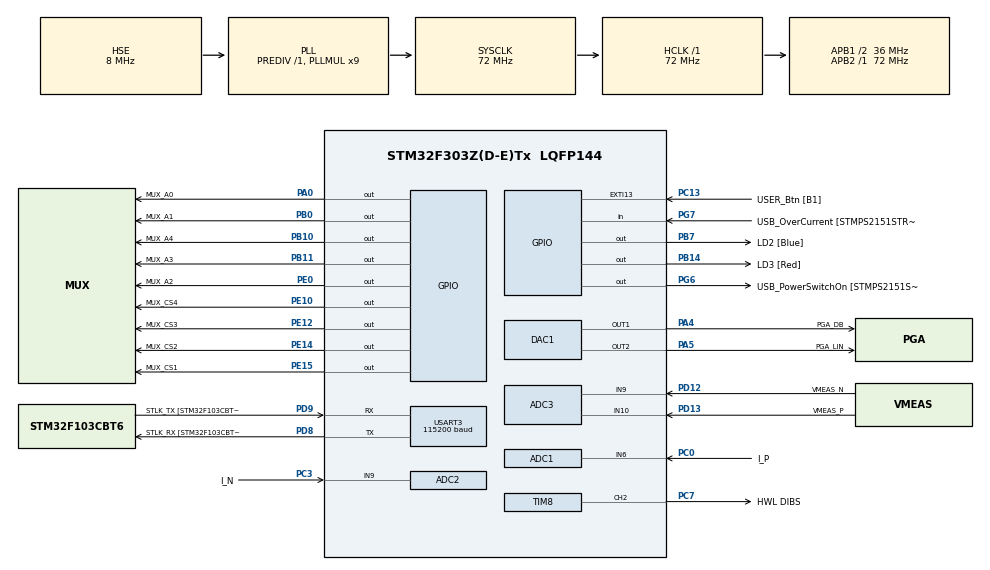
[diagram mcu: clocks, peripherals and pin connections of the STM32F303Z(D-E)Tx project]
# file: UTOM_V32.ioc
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ADC1.Channel-0\#ChannelRegularConversion=ADC_CHANNEL_6
ADC1.EnableInjectedConversion=DISABLE
ADC1.ExternalTrigConv=ADC_EXTERNALTRIGCONV_T3_TRGO
ADC1.NbrOfConversionFlag=1
ADC1.Offset-0\#ChannelRegularConversion=0
ADC1.OffsetNumber-0\#ChannelRegularConversion=ADC_OFFSET_NONE
ADC1.Rank-0\#ChannelRegularConversion=1
ADC1.SamplingTime-0\#ChannelRegularConversion=ADC_SAMPLETIME_19CYCLES_5
ADC1.SamplingTimeOPAMP-0\#ChannelRegularConversion=ADC_SAMPLETIME_61CYCLES_5
ADC1.master=1
ADC2.Channel-0\#ChannelRegularConversion=ADC_CHANNEL_9
ADC2.EnableInjectedConversion=DISABLE
ADC2.ExternalTrigConv=ADC_EXTERNALTRIGCONV_T3_TRGO
ADC2.NbrOfConversionFlag=1
ADC2.Offset-0\#ChannelRegularConversion=0
ADC2.OffsetNumber-0\#ChannelRegularConversion=ADC_OFFSET_NONE
ADC2.Rank-0\#ChannelRegularConversion=1
ADC2.SamplingTime-0\#ChannelRegularConversion=ADC_SAMPLETIME_19CYCLES_5
ADC3.Channel-2\#ChannelRegularConversion=ADC_CHANNEL_9
ADC3.EnableInjectedConversion=DISABLE
ADC3.ExternalTrigConv=ADC_EXTERNALTRIGCONV_T3_TRGO
ADC3.NbrOfConversion=1
ADC3.NbrOfConversionFlag=1
ADC3.Offset-2\#ChannelRegularConversion=0
ADC3.OffsetNumber-2\#ChannelRegularConversion=ADC_OFFSET_NONE
ADC3.Rank-2\#ChannelRegularConversion=1
ADC3.SamplingTime-2\#ChannelRegularConversion=ADC_SAMPLETIME_19CYCLES_5
ADC3.SamplingTimeOPAMP-2\#ChannelRegularConversion=ADC_SAMPLETIME_61CYCLES_5
ADC3.SingleDiff-2\#ChannelRegularConversion=ADC_DIFFERENTIAL_ENDED
ADC3.master=1
DAC1.DAC_Trigger=DAC_TRIGGER_SOFTWARE
DAC1.DAC_Trigger2=DAC_TRIGGER_SOFTWARE
Dma.ADC1.3.Direction=DMA_PERIPH_TO_MEMORY
Dma.ADC1.3.Instance=DMA1_Channel1
Dma.ADC1.3.MemDataAlignment=DMA_MDATAALIGN_HALFWORD
Dma.ADC1.3.MemInc=DMA_MINC_ENABLE
Dma.ADC1.3.Mode=DMA_NORMAL
Dma.ADC1.3.PeriphDataAlignment=DMA_PDATAALIGN_HALFWORD
Dma.ADC1.3.PeriphInc=DMA_PINC_DISABLE
Dma.ADC1.3.Priority=DMA_PRIORITY_HIGH
Dma.ADC2.4.Direction=DMA_PERIPH_TO_MEMORY
Dma.ADC2.4.Instance=DMA2_Channel1
Dma.ADC2.4.MemDataAlignment=DMA_MDATAALIGN_HALFWORD
Dma.ADC2.4.MemInc=DMA_MINC_ENABLE
Dma.ADC2.4.Mode=DMA_NORMAL
Dma.ADC2.4.PeriphDataAlignment=DMA_PDATAALIGN_HALFWORD
Dma.ADC2.4.PeriphInc=DMA_PINC_DISABLE
Dma.ADC2.4.Priority=DMA_PRIORITY_HIGH
Dma.ADC3.2.Direction=DMA_PERIPH_TO_MEMORY
Dma.ADC3.2.Instance=DMA2_Channel5
Dma.ADC3.2.MemDataAlignment=DMA_MDATAALIGN_HALFWORD
Dma.ADC3.2.MemInc=DMA_MINC_ENABLE
Dma.ADC3.2.Mode=DMA_NORMAL
Dma.ADC3.2.PeriphDataAlignment=DMA_PDATAALIGN_HALFWORD
Dma.ADC3.2.PeriphInc=DMA_PINC_DISABLE
Dma.ADC3.2.Priority=DMA_PRIORITY_VERY_HIGH
Dma.Request0=USART3_TX
Dma.Request1=USART3_RX
Dma.Request2=ADC3
Dma.Request3=ADC1
Dma.Request4=ADC2
Dma.USART3_RX.1.Direction=DMA_PERIPH_TO_MEMORY
Dma.USART3_RX.1.Instance=DMA1_Channel3
Dma.USART3_RX.1.MemDataAlignment=DMA_MDATAALIGN_BYTE
Dma.USART3_RX.1.MemInc=DMA_MINC_ENABLE
Dma.USART3_RX.1.Mode=DMA_NORMAL
Dma.USART3_RX.1.PeriphDataAlignment=DMA_PDATAALIGN_BYTE
Dma.USART3_RX.1.PeriphInc=DMA_PINC_DISABLE
Dma.USART3_RX.1.Priority=DMA_PRIORITY_LOW
Dma.USART3_TX.0.Direction=DMA_MEMORY_TO_PERIPH
Dma.USART3_TX.0.Instance=DMA1_Channel2
Dma.USART3_TX.0.MemDataAlignment=DMA_MDATAALIGN_BYTE
Dma.USART3_TX.0.MemInc=DMA_MINC_ENABLE
Dma.USART3_TX.0.Mode=DMA_NORMAL
Dma.USART3_TX.0.PeriphDataAlignment=DMA_PDATAALIGN_BYTE
Dma.USART3_TX.0.PeriphInc=DMA_PINC_DISABLE
Dma.USART3_TX.0.Priority=DMA_PRIORITY_LOW
Mcu.Family=STM32F3
Mcu.Name=STM32F303Z(D-E)Tx
Mcu.Package=LQFP144
NVIC.DMA1_Channel1_IRQn=true\:0\:0\:false\:false\:true\:false\:true\:true
NVIC.DMA1_Channel2_IRQn=true\:0\:0\:false\:false\:true\:false\:true\:true
NVIC.DMA1_Channel3_IRQn=true\:0\:0\:false\:false\:true\:false\:true\:true
NVIC.DMA2_Channel1_IRQn=true\:0\:0\:false\:false\:true\:false\:true\:true
NVIC.DMA2_Channel5_IRQn=true\:0\:0\:false\:false\:true\:false\:true\:true
NVIC.PriorityGroup=NVIC_PRIORITYGROUP_4
NVIC.USART3_IRQn=true\:0\:0\:false\:false\:true\:true\:true\:true
PA0.GPIO_Label=MUX_A0
PA0.PinState=GPIO_PIN_RESET
PA0.Signal=GPIO_Output
PA13.GPIO_Label=TMS
PA13.Mode=Serial_Wire
PA13.Signal=SYS_JTMS-SWDIO
PA14.GPIO_Label=TCK
PA14.Mode=Serial_Wire
PA14.Signal=SYS_JTCK-SWCLK
PA4.GPIO_Label=PGA_DB
PA4.Signal=COMP_DAC11_group
PA5.GPIO_Label=PGA_LIN
PA5.Signal=COMP_DAC12_group
PB0.GPIO_Label=MUX_A1
PB0.PinState=GPIO_PIN_RESET
PB0.Signal=GPIO_Output
PB10.GPIO_Label=MUX_A4
PB10.PinState=GPIO_PIN_RESET
PB10.Signal=GPIO_Output
PB11.GPIO_Label=MUX_A3
PB11.PinState=GPIO_PIN_RESET
PB11.Signal=GPIO_Output
PB14.GPIO_Label=LD3 [Red]
PB14.Signal=GPIO_Output
PB3.GPIO_Label=SWO
PB3.Signal=SYS_JTDO-TRACESWO
PB7.GPIO_Label=LD2 [Blue]
PB7.Signal=GPIO_Output
PC0.GPIO_Label=I_P
PC0.Signal=ADCx_IN6
PC13.GPIO_Label=USER_Btn [B1]
PC13.Signal=GPXTI13
PC14-OSC32_IN.Mode=LSE-External-Oscillator
PC14-OSC32_IN.Signal=RCC_OSC32_IN
PC15-OSC32_OUT.Mode=LSE-External-Oscillator
PC15-OSC32_OUT.Signal=RCC_OSC32_OUT
PC3.GPIO_Label=I_N
PC3.Signal=ADCx_IN9
PC7.GPIO_Label=HWL DIBS
PC7.Signal=S_TIM8_CH2
PD12.GPIO_Label=VMEAS_N
PD12.Signal=ADCx_IN9P
PD13.GPIO_Label=VMEAS_P
PD13.Signal=ADCx_IN10P
PD8.GPIO_Label=STLK_RX [STM32F103CBT6_PA3]
PD8.Mode=Asynchronous
PD8.Signal=USART3_TX
PD9.GPIO_Label=STLK_TX [STM32F103CBT6_PA2]
PD9.Mode=Asynchronous
PD9.Signal=USART3_RX
PE0.GPIO_Label=MUX_A2
PE0.PinState=GPIO_PIN_RESET
PE0.Signal=GPIO_Output
PE10.GPIO_Label=MUX_CS4
PE10.PinState=GPIO_PIN_SET
PE10.Signal=GPIO_Output
PE12.GPIO_Label=MUX_CS3
PE12.PinState=GPIO_PIN_SET
PE12.Signal=GPIO_Output
PE14.GPIO_Label=MUX_CS2
PE14.PinState=GPIO_PIN_SET
PE14.Signal=GPIO_Output
PE15.GPIO_Label=MUX_CS1
PE15.PinState=GPIO_PIN_SET
PE15.Signal=GPIO_Output
PF0-OSC_IN.Mode=HSE-External-Clock-Source
PF0-OSC_IN.Signal=RCC_OSC_IN
PG6.GPIO_Label=USB_PowerSwitchOn [STMPS2151STR_EN]
PG6.Signal=GPIO_Output
PG7.GPIO_Label=USB_OverCurrent [STMPS2151STR_FAULT]
PG7.Signal=GPIO_Input
ProjectManager.HeapSize=0x200
ProjectManager.StackSize=0x400
ProjectManager.TargetToolchain=STM32CubeIDE
RCC.AHBFreq_Value=72000000
RCC.APB1CLKDivider=RCC_HCLK_DIV2
RCC.APB1Freq_Value=36000000
RCC.APB1TimFreq_Value=72000000
RCC.APB2Freq_Value=72000000
RCC.APB2TimFreq_Value=72000000
RCC.CortexFreq_Value=72000000
RCC.HCLKFreq_Value=72000000
RCC.HSE_VALUE=8000000
RCC.HSI_VALUE=8000000
RCC.PLLMUL=RCC_PLL_MUL9
RCC.PLLSourceVirtual=RCC_PLLSOURCE_HSE
RCC.RTCClockSelection=RCC_RTCCLKSOURCE_LSE
RCC.SYSCLKFreq_VALUE=72000000
RCC.SYSCLKSourceVirtual=RCC_SYSCLKSOURCE_PLLCLK
RCC.USBFreq_Value=72000000
RCC.Usart3ClockSelection=RCC_USART3CLKSOURCE_SYSCLK
SH.ADCx_IN10P.0=ADC3_IN10,IN9-Differential
SH.ADCx_IN6.0=ADC1_IN6,IN6-Single-Ended
SH.ADCx_IN9.0=ADC2_IN9,IN9-Single-Ended
SH.ADCx_IN9P.0=ADC3_IN9,IN9-Differential
SH.COMP_DAC11_group.0=DAC1_OUT1,DAC_OUT1
SH.COMP_DAC12_group.0=DAC1_OUT2,Enable_DAC_OUT2
SH.S_TIM8_CH2.0=TIM8_CH2,PWM Generation2 CH2
TIM3.Period=35
TIM3.TIM_MasterOutputTrigger=TIM_TRGO_UPDATE
TIM3.TIM_MasterSlaveMode=TIM_MASTERSLAVEMODE_ENABLE
TIM4.Prescaler=71
TIM8.Channel-PWM\ Generation2\ CH2=TIM_CHANNEL_2
TIM8.OCFastMode_PWM-PWM\ Generation2\ CH2=TIM_OCFAST_ENABLE
TIM8.Period=71
TIM8.Prescaler=99
TIM8.Pulse-PWM\ Generation2\ CH2=35
USART3.BaudRate=115200
USART3.Parity=PARITY_ODD
USART3.VirtualMode-Asynchronous=VM_ASYNC
USART3.WordLength=WORDLENGTH_9B
VP_RTC_VS_RTC_Activate.Mode=RTC_Enabled
VP_TIM3_VS_ClockSourceINT.Mode=Internal
VP_TIM4_VS_ClockSourceINT.Mode=Internal
board=NUCLEO-F303ZE

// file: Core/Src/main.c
/* USER CODE BEGIN Header */
/**
  ******************************************************************************
  * @file           : main.c
  * @brief          : Main program body
  ******************************************************************************
  * @attention
  *
  * <h2><center>&copy; Copyright (c) 2021 STMicroelectronics.
  * All rights reserved.</center></h2>
  *
  * This software component is licensed by ST under BSD 3-Clause license,
  * the "License"; You may not use this file except in compliance with the
  * License. You may obtain a copy of the License at:
  *                        opensource.org/licenses/BSD-3-Clause
  *
  ******************************************************************************
  */
/* USER CODE END Header */
#include "main.h"

/* USER CODE BEGIN Includes */

#include <stdio.h>
#include <stdlib.h>
#include "arm_const_structs.h"
#include "arm_math.h"
#include "state_machine.h"
#include "ring_buffer.h"

/* USER CODE END Includes */

ADC_HandleTypeDef hadc1;
ADC_HandleTypeDef hadc2;
ADC_HandleTypeDef hadc3;
DMA_HandleTypeDef hdma_adc1;
DMA_HandleTypeDef hdma_adc2;
DMA_HandleTypeDef hdma_adc3;

DAC_HandleTypeDef hdac1;

RTC_HandleTypeDef hrtc;

TIM_HandleTypeDef htim3;
TIM_HandleTypeDef htim4;
TIM_HandleTypeDef htim8;

UART_HandleTypeDef huart3;
DMA_HandleTypeDef hdma_usart3_tx;
DMA_HandleTypeDef hdma_usart3_rx;

void SystemClock_Config(void);
static void MX_GPIO_Init(void);
static void MX_DMA_Init(void);
static void MX_RTC_Init(void);
static void MX_USART3_UART_Init(void);
static void MX_DAC1_Init(void);
static void MX_TIM8_Init(void);
static void MX_ADC3_Init(void);
static void MX_TIM3_Init(void);
static void MX_ADC1_Init(void);
static void MX_ADC2_Init(void);
static void MX_TIM4_Init(void);
/* USER CODE BEGIN PFP */

// State Functions BEGIN
Actions_TypeDef comm_wait_state(void);
Actions_TypeDef g_sel_state(void);
Actions_TypeDef ch_sel_state(void);
Actions_TypeDef meas_state(void);
Actions_TypeDef error_state(void);
Actions_TypeDef calc_FFT_state(void);
Actions_TypeDef exc_state(void);
Actions_TypeDef current_p_state(void);
Actions_TypeDef current_n_state(void);
// State Functions END

// Auxiliary Functions BEGIN
Actions_TypeDef take_measurement(ADC_HandleTypeDef* hadc);
// Auxiliary Functions END

void APPEND_MEASUREMENT(void);

/* USER CODE END PFP */

/* USER CODE BEGIN 0 */

//Interface Commands
uint8_t comm[COMM_BUFF_SIZE]; 									//command

//Voltage Measurements
uint16_t adc_buffer[ADC_BUFF_SIZE]; 									//ADC Measurements
uint16_t uart_ring_buffer[RING_BUFFER_SIZE];
ring_buf_t ring_buffer_struct;

//State Function Pointer (need to be synchronized with States_TypeDef)
State_FunctionsTypeDef state_func_ptr[] = {comm_wait_state, g_sel_state, ch_sel_state,
		meas_state, error_state, calc_FFT_state, exc_state, current_p_state, current_n_state};

//Flow Locks
HAL_LockTypeDef uart_cplt_lck = HAL_LOCKED; //UART Receiving Complete Transfer
HAL_LockTypeDef fft_lck       = HAL_UNLOCKED; //UART Receiving Complete Transfer

//MUX Ports and Pins
uint16_t mux_pins[5]  	     = {MUX_A0_Pin, MUX_A1_Pin, MUX_A2_Pin, MUX_A3_Pin, MUX_A4_Pin};
GPIO_TypeDef* mux_ports[5]   = {MUX_A0_GPIO_Port, MUX_A1_GPIO_Port, MUX_A2_GPIO_Port, MUX_A3_GPIO_Port, MUX_A4_GPIO_Port};
uint16_t cs_pins[4]          = {MUX_CS1_Pin, MUX_CS2_Pin, MUX_CS3_Pin, MUX_CS4_Pin};
GPIO_TypeDef* cs_ports[4]    = {MUX_CS1_GPIO_Port, MUX_CS2_GPIO_Port, MUX_CS3_GPIO_Port, MUX_CS4_GPIO_Port};

//Machine State for Diagnostics
uint32_t dac_DB = __DAC1_VOLTAGE2BIT(PGA_MIN_VOLTAGE);
uint32_t dac_LIN = __DAC2_VOLTAGE2BIT(PGA_MIN_VOLTAGE);
uint8_t channels_value[4] = {0,0,0,0};

//FFT parameters and functions
// Initialize FFT instance
float32_t fft_input[FFT_SIZE];   // Real input buffer
float32_t fft_output[FFT_SIZE]; // FFT output buffer (interleaved complex)
float32_t magnitudes[FFT_SIZE / 2];  // Magnitudes for positive frequencies
arm_rfft_fast_instance_f32 fft_instance;
float32_t mag_value; //desired output
float32_t hann_multiplier[ADC_BUFF_SIZE];

//Excitation active
uint8_t f_target = 1;

/* USER CODE END 0 */

int main(void)
{

  /* MCU Configuration--------------------------------------------------------*/

  /* Reset of all peripherals, Initializes the Flash interface and the Systick. */
  HAL_Init();

  /* Configure the system clock */
  SystemClock_Config();

  /* Initialize all configured peripherals */
  MX_GPIO_Init();
  MX_DMA_Init();
  MX_RTC_Init();
  MX_USART3_UART_Init();
  MX_DAC1_Init();
  MX_TIM8_Init();
  MX_ADC3_Init();
  MX_TIM3_Init();
  MX_ADC1_Init();
  MX_ADC2_Init();
  MX_TIM4_Init();
  /* USER CODE BEGIN 2 */

  // Set State Machine Variables:
  States_TypeDef state = ENTRY_STATE;
  Actions_TypeDef action;
  State_FunctionsTypeDef state_func;

  //ADC Calibration Function
  if(HAL_ADCEx_Calibration_Start(&hadc3, ADC_DIFFERENTIAL_ENDED) != HAL_OK)
	  Error_Handler();

  //GAIN_DAC Start and set value to 0.1 V
	if((HAL_DAC_SetValue(&hdac1, DAC_CHANNEL_1, DAC_ALIGN_12B_R, dac_DB) != HAL_OK) ||
		  (HAL_DAC_Start(&hdac1, DAC_CHANNEL_1) != HAL_OK) != HAL_OK)
	  Error_Handler();
	if((HAL_DAC_SetValue(&hdac1, DAC_CHANNEL_2, DAC_ALIGN_12B_R, dac_LIN) != HAL_OK) ||
		  (HAL_DAC_Start(&hdac1, DAC_CHANNEL_2) != HAL_OK) != HAL_OK)
	  Error_Handler();

  //Ring Buffer Initialization
	ring_buf_init(&ring_buffer_struct, uart_ring_buffer, RING_BUFFER_SIZE);

  //Initialize Hann Window for FFT
	for(int i=0; i < ADC_BUFF_SIZE; i++){
		hann_multiplier[i] = 0.5 * (1 - cos(2*PI*i/2047));
	}

  //UART Terminator
	//adc_buffer[ADC_BUFF_SIZE - 1] = TERMINATOR;

  /* USER CODE END 2 */

  /* Infinite loop */
  /* USER CODE BEGIN WHILE */
  while (1)
  {
	state_func = state_func_ptr[state];
	action = state_func();
	state = ST_nextstate(state, action);
    /* USER CODE END WHILE */

  }
}

void SystemClock_Config(void)
{
  RCC_OscInitTypeDef RCC_OscInitStruct = {0};
  RCC_ClkInitTypeDef RCC_ClkInitStruct = {0};
  RCC_PeriphCLKInitTypeDef PeriphClkInit = {0};

  /** Configure LSE Drive Capability
  */
  HAL_PWR_EnableBkUpAccess();
  __HAL_RCC_LSEDRIVE_CONFIG(RCC_LSEDRIVE_LOW);

  /** Initializes the RCC Oscillators according to the specified parameters
  * in the RCC_OscInitTypeDef structure.
  */
  RCC_OscInitStruct.OscillatorType = RCC_OSCILLATORTYPE_HSE|RCC_OSCILLATORTYPE_LSE;
  RCC_OscInitStruct.HSEState = RCC_HSE_BYPASS;
  RCC_OscInitStruct.LSEState = RCC_LSE_ON;
  RCC_OscInitStruct.HSIState = RCC_HSI_ON;
  RCC_OscInitStruct.PLL.PLLState = RCC_PLL_ON;
  RCC_OscInitStruct.PLL.PLLSource = RCC_PLLSOURCE_HSE;
  RCC_OscInitStruct.PLL.PLLMUL = RCC_PLL_MUL9;
  RCC_OscInitStruct.PLL.PREDIV = RCC_PREDIV_DIV1;
  if (HAL_RCC_OscConfig(&RCC_OscInitStruct) != HAL_OK)
  {
    Error_Handler();
  }

  /** Initializes the CPU, AHB and APB buses clocks
  */
  RCC_ClkInitStruct.ClockType = RCC_CLOCKTYPE_HCLK|RCC_CLOCKTYPE_SYSCLK
                              |RCC_CLOCKTYPE_PCLK1|RCC_CLOCKTYPE_PCLK2;
  RCC_ClkInitStruct.SYSCLKSource = RCC_SYSCLKSOURCE_PLLCLK;
  RCC_ClkInitStruct.AHBCLKDivider = RCC_SYSCLK_DIV1;
  RCC_ClkInitStruct.APB1CLKDivider = RCC_HCLK_DIV2;
  RCC_ClkInitStruct.APB2CLKDivider = RCC_HCLK_DIV1;

  if (HAL_RCC_ClockConfig(&RCC_ClkInitStruct, FLASH_LATENCY_2) != HAL_OK)
  {
    Error_Handler();
  }
  PeriphClkInit.PeriphClockSelection = RCC_PERIPHCLK_USART3|RCC_PERIPHCLK_RTC
                              |RCC_PERIPHCLK_TIM8|RCC_PERIPHCLK_ADC12
                              |RCC_PERIPHCLK_ADC34|RCC_PERIPHCLK_TIM34;
  PeriphClkInit.Usart3ClockSelection = RCC_USART3CLKSOURCE_SYSCLK;
  PeriphClkInit.Adc12ClockSelection = RCC_ADC12PLLCLK_DIV1;
  PeriphClkInit.Adc34ClockSelection = RCC_ADC34PLLCLK_DIV1;
  PeriphClkInit.RTCClockSelection = RCC_RTCCLKSOURCE_LSE;
  PeriphClkInit.Tim8ClockSelection = RCC_TIM8CLK_HCLK;
  PeriphClkInit.Tim34ClockSelection = RCC_TIM34CLK_HCLK;
  if (HAL_RCCEx_PeriphCLKConfig(&PeriphClkInit) != HAL_OK)
  {
    Error_Handler();
  }
}

static void MX_ADC1_Init(void)
{

  ADC_MultiModeTypeDef multimode = {0};
  ADC_ChannelConfTypeDef sConfig = {0};

  /** Common config
  */
  hadc1.Instance = ADC1;
  hadc1.Init.ClockPrescaler = ADC_CLOCK_ASYNC_DIV1;
  hadc1.Init.Resolution = ADC_RESOLUTION_12B;
  hadc1.Init.ScanConvMode = ADC_SCAN_DISABLE;
  hadc1.Init.ContinuousConvMode = DISABLE;
  hadc1.Init.DiscontinuousConvMode = DISABLE;
  hadc1.Init.ExternalTrigConvEdge = ADC_EXTERNALTRIGCONVEDGE_RISING;
  hadc1.Init.ExternalTrigConv = ADC_EXTERNALTRIGCONV_T3_TRGO;
  hadc1.Init.DataAlign = ADC_DATAALIGN_RIGHT;
  hadc1.Init.NbrOfConversion = 1;
  hadc1.Init.DMAContinuousRequests = DISABLE;
  hadc1.Init.EOCSelection = ADC_EOC_SINGLE_CONV;
  hadc1.Init.LowPowerAutoWait = DISABLE;
  hadc1.Init.Overrun = ADC_OVR_DATA_OVERWRITTEN;
  if (HAL_ADC_Init(&hadc1) != HAL_OK)
  {
    Error_Handler();
  }

  /** Configure the ADC multi-mode
  */
  multimode.Mode = ADC_MODE_INDEPENDENT;
  if (HAL_ADCEx_MultiModeConfigChannel(&hadc1, &multimode) != HAL_OK)
  {
    Error_Handler();
  }

  /** Configure Regular Channel
  */
  sConfig.Channel = ADC_CHANNEL_6;
  sConfig.Rank = ADC_REGULAR_RANK_1;
  sConfig.SingleDiff = ADC_SINGLE_ENDED;
  sConfig.SamplingTime = ADC_SAMPLETIME_19CYCLES_5;
  sConfig.OffsetNumber = ADC_OFFSET_NONE;
  sConfig.Offset = 0;
  if (HAL_ADC_ConfigChannel(&hadc1, &sConfig) != HAL_OK)
  {
    Error_Handler();
  }

}

static void MX_ADC2_Init(void)
{

  ADC_ChannelConfTypeDef sConfig = {0};

  /** Common config
  */
  hadc2.Instance = ADC2;
  hadc2.Init.ClockPrescaler = ADC_CLOCK_ASYNC_DIV1;
  hadc2.Init.Resolution = ADC_RESOLUTION_12B;
  hadc2.Init.ScanConvMode = ADC_SCAN_DISABLE;
  hadc2.Init.ContinuousConvMode = DISABLE;
  hadc2.Init.DiscontinuousConvMode = DISABLE;
  hadc2.Init.ExternalTrigConvEdge = ADC_EXTERNALTRIGCONVEDGE_RISING;
  hadc2.Init.ExternalTrigConv = ADC_EXTERNALTRIGCONV_T3_TRGO;
  hadc2.Init.DataAlign = ADC_DATAALIGN_RIGHT;
  hadc2.Init.NbrOfConversion = 1;
  hadc2.Init.DMAContinuousRequests = DISABLE;
  hadc2.Init.EOCSelection = ADC_EOC_SINGLE_CONV;
  hadc2.Init.LowPowerAutoWait = DISABLE;
  hadc2.Init.Overrun = ADC_OVR_DATA_OVERWRITTEN;
  if (HAL_ADC_Init(&hadc2) != HAL_OK)
  {
    Error_Handler();
  }

  /** Configure Regular Channel
  */
  sConfig.Channel = ADC_CHANNEL_9;
  sConfig.Rank = ADC_REGULAR_RANK_1;
  sConfig.SingleDiff = ADC_SINGLE_ENDED;
  sConfig.SamplingTime = ADC_SAMPLETIME_19CYCLES_5;
  sConfig.OffsetNumber = ADC_OFFSET_NONE;
  sConfig.Offset = 0;
  if (HAL_ADC_ConfigChannel(&hadc2, &sConfig) != HAL_OK)
  {
    Error_Handler();
  }

}

static void MX_ADC3_Init(void)
{

  ADC_MultiModeTypeDef multimode = {0};
  ADC_ChannelConfTypeDef sConfig = {0};

  /** Common config
  */
  hadc3.Instance = ADC3;
  hadc3.Init.ClockPrescaler = ADC_CLOCK_ASYNC_DIV1;
  hadc3.Init.Resolution = ADC_RESOLUTION_12B;
  hadc3.Init.ScanConvMode = ADC_SCAN_DISABLE;
  hadc3.Init.ContinuousConvMode = DISABLE;
  hadc3.Init.DiscontinuousConvMode = DISABLE;
  hadc3.Init.ExternalTrigConvEdge = ADC_EXTERNALTRIGCONVEDGE_RISING;
  hadc3.Init.ExternalTrigConv = ADC_EXTERNALTRIGCONV_T3_TRGO;
  hadc3.Init.DataAlign = ADC_DATAALIGN_RIGHT;
  hadc3.Init.NbrOfConversion = 1;
  hadc3.Init.DMAContinuousRequests = DISABLE;
  hadc3.Init.EOCSelection = ADC_EOC_SINGLE_CONV;
  hadc3.Init.LowPowerAutoWait = DISABLE;
  hadc3.Init.Overrun = ADC_OVR_DATA_OVERWRITTEN;
  if (HAL_ADC_Init(&hadc3) != HAL_OK)
  {
    Error_Handler();
  }

  /** Configure the ADC multi-mode
  */
  multimode.Mode = ADC_MODE_INDEPENDENT;
  if (HAL_ADCEx_MultiModeConfigChannel(&hadc3, &multimode) != HAL_OK)
  {
    Error_Handler();
  }

  /** Configure Regular Channel
  */
  sConfig.Channel = ADC_CHANNEL_9;
  sConfig.Rank = ADC_REGULAR_RANK_1;
  sConfig.SingleDiff = ADC_DIFFERENTIAL_ENDED;
  sConfig.SamplingTime = ADC_SAMPLETIME_19CYCLES_5;
  sConfig.OffsetNumber = ADC_OFFSET_NONE;
  sConfig.Offset = 0;
  if (HAL_ADC_ConfigChannel(&hadc3, &sConfig) != HAL_OK)
  {
    Error_Handler();
  }

}

static void MX_DAC1_Init(void)
{

  DAC_ChannelConfTypeDef sConfig = {0};

  /** DAC Initialization
  */
  hdac1.Instance = DAC1;
  if (HAL_DAC_Init(&hdac1) != HAL_OK)
  {
    Error_Handler();
  }

  /** DAC channel OUT1 config
  */
  sConfig.DAC_Trigger = DAC_TRIGGER_SOFTWARE;
  sConfig.DAC_OutputBuffer = DAC_OUTPUTBUFFER_ENABLE;
  if (HAL_DAC_ConfigChannel(&hdac1, &sConfig, DAC_CHANNEL_1) != HAL_OK)
  {
    Error_Handler();
  }

  /** DAC channel OUT2 config
  */
  if (HAL_DAC_ConfigChannel(&hdac1, &sConfig, DAC_CHANNEL_2) != HAL_OK)
  {
    Error_Handler();
  }

}

static void MX_RTC_Init(void)
{

  /** Initialize RTC Only
  */
  hrtc.Instance = RTC;
  hrtc.Init.HourFormat = RTC_HOURFORMAT_24;
  hrtc.Init.AsynchPrediv = 127;
  hrtc.Init.SynchPrediv = 255;
  hrtc.Init.OutPut = RTC_OUTPUT_DISABLE;
  hrtc.Init.OutPutPolarity = RTC_OUTPUT_POLARITY_HIGH;
  hrtc.Init.OutPutType = RTC_OUTPUT_TYPE_OPENDRAIN;
  if (HAL_RTC_Init(&hrtc) != HAL_OK)
  {
    Error_Handler();
  }

}

static void MX_TIM3_Init(void)
{

  TIM_ClockConfigTypeDef sClockSourceConfig = {0};
  TIM_MasterConfigTypeDef sMasterConfig = {0};

  htim3.Instance = TIM3;
  htim3.Init.Prescaler = 0;
  htim3.Init.CounterMode = TIM_COUNTERMODE_UP;
  htim3.Init.Period = 35;
  htim3.Init.ClockDivision = TIM_CLOCKDIVISION_DIV1;
  htim3.Init.AutoReloadPreload = TIM_AUTORELOAD_PRELOAD_DISABLE;
  if (HAL_TIM_Base_Init(&htim3) != HAL_OK)
  {
    Error_Handler();
  }
  sClockSourceConfig.ClockSource = TIM_CLOCKSOURCE_INTERNAL;
  if (HAL_TIM_ConfigClockSource(&htim3, &sClockSourceConfig) != HAL_OK)
  {
    Error_Handler();
  }
  sMasterConfig.MasterOutputTrigger = TIM_TRGO_UPDATE;
  sMasterConfig.MasterSlaveMode = TIM_MASTERSLAVEMODE_ENABLE;
  if (HAL_TIMEx_MasterConfigSynchronization(&htim3, &sMasterConfig) != HAL_OK)
  {
    Error_Handler();
  }

}

static void MX_TIM4_Init(void)
{

  TIM_ClockConfigTypeDef sClockSourceConfig = {0};
  TIM_MasterConfigTypeDef sMasterConfig = {0};

  htim4.Instance = TIM4;
  htim4.Init.Prescaler = 71;
  htim4.Init.CounterMode = TIM_COUNTERMODE_UP;
  htim4.Init.Period = 65535;
  htim4.Init.ClockDivision = TIM_CLOCKDIVISION_DIV1;
  htim4.Init.AutoReloadPreload = TIM_AUTORELOAD_PRELOAD_DISABLE;
  if (HAL_TIM_Base_Init(&htim4) != HAL_OK)
  {
    Error_Handler();
  }
  sClockSourceConfig.ClockSource = TIM_CLOCKSOURCE_INTERNAL;
  if (HAL_TIM_ConfigClockSource(&htim4, &sClockSourceConfig) != HAL_OK)
  {
    Error_Handler();
  }
  sMasterConfig.MasterOutputTrigger = TIM_TRGO_RESET;
  sMasterConfig.MasterSlaveMode = TIM_MASTERSLAVEMODE_DISABLE;
  if (HAL_TIMEx_MasterConfigSynchronization(&htim4, &sMasterConfig) != HAL_OK)
  {
    Error_Handler();
  }

}

static void MX_TIM8_Init(void)
{

  TIM_MasterConfigTypeDef sMasterConfig = {0};
  TIM_OC_InitTypeDef sConfigOC = {0};
  TIM_BreakDeadTimeConfigTypeDef sBreakDeadTimeConfig = {0};

  htim8.Instance = TIM8;
  htim8.Init.Prescaler = 99;
  htim8.Init.CounterMode = TIM_COUNTERMODE_UP;
  htim8.Init.Period = 71;
  htim8.Init.ClockDivision = TIM_CLOCKDIVISION_DIV1;
  htim8.Init.RepetitionCounter = 0;
  htim8.Init.AutoReloadPreload = TIM_AUTORELOAD_PRELOAD_DISABLE;
  if (HAL_TIM_PWM_Init(&htim8) != HAL_OK)
  {
    Error_Handler();
  }
  sMasterConfig.MasterOutputTrigger = TIM_TRGO_RESET;
  sMasterConfig.MasterOutputTrigger2 = TIM_TRGO2_RESET;
  sMasterConfig.MasterSlaveMode = TIM_MASTERSLAVEMODE_DISABLE;
  if (HAL_TIMEx_MasterConfigSynchronization(&htim8, &sMasterConfig) != HAL_OK)
  {
    Error_Handler();
  }
  sConfigOC.OCMode = TIM_OCMODE_PWM1;
  sConfigOC.Pulse = 35;
  sConfigOC.OCPolarity = TIM_OCPOLARITY_HIGH;
  sConfigOC.OCNPolarity = TIM_OCNPOLARITY_HIGH;
  sConfigOC.OCFastMode = TIM_OCFAST_ENABLE;
  sConfigOC.OCIdleState = TIM_OCIDLESTATE_RESET;
  sConfigOC.OCNIdleState = TIM_OCNIDLESTATE_RESET;
  if (HAL_TIM_PWM_ConfigChannel(&htim8, &sConfigOC, TIM_CHANNEL_2) != HAL_OK)
  {
    Error_Handler();
  }
  sBreakDeadTimeConfig.OffStateRunMode = TIM_OSSR_DISABLE;
  sBreakDeadTimeConfig.OffStateIDLEMode = TIM_OSSI_DISABLE;
  sBreakDeadTimeConfig.LockLevel = TIM_LOCKLEVEL_OFF;
  sBreakDeadTimeConfig.DeadTime = 0;
  sBreakDeadTimeConfig.BreakState = TIM_BREAK_DISABLE;
  sBreakDeadTimeConfig.BreakPolarity = TIM_BREAKPOLARITY_HIGH;
  sBreakDeadTimeConfig.BreakFilter = 0;
  sBreakDeadTimeConfig.Break2State = TIM_BREAK2_DISABLE;
  sBreakDeadTimeConfig.Break2Polarity = TIM_BREAK2POLARITY_HIGH;
  sBreakDeadTimeConfig.Break2Filter = 0;
  sBreakDeadTimeConfig.AutomaticOutput = TIM_AUTOMATICOUTPUT_DISABLE;
  if (HAL_TIMEx_ConfigBreakDeadTime(&htim8, &sBreakDeadTimeConfig) != HAL_OK)
  {
    Error_Handler();
  }
  HAL_TIM_MspPostInit(&htim8);

}

static void MX_USART3_UART_Init(void)
{

  huart3.Instance = USART3;
  huart3.Init.BaudRate = 115200;
  huart3.Init.WordLength = UART_WORDLENGTH_9B;
  huart3.Init.StopBits = UART_STOPBITS_1;
  huart3.Init.Parity = UART_PARITY_ODD;
  huart3.Init.Mode = UART_MODE_TX_RX;
  huart3.Init.HwFlowCtl = UART_HWCONTROL_NONE;
  huart3.Init.OverSampling = UART_OVERSAMPLING_16;
  huart3.Init.OneBitSampling = UART_ONE_BIT_SAMPLE_DISABLE;
  huart3.AdvancedInit.AdvFeatureInit = UART_ADVFEATURE_NO_INIT;
  if (HAL_UART_Init(&huart3) != HAL_OK)
  {
    Error_Handler();
  }

}

static void MX_DMA_Init(void)
{

  /* DMA controller clock enable */
  __HAL_RCC_DMA1_CLK_ENABLE();
  __HAL_RCC_DMA2_CLK_ENABLE();

  /* DMA interrupt init */
  /* DMA1_Channel1_IRQn interrupt configuration */
  HAL_NVIC_SetPriority(DMA1_Channel1_IRQn, 0, 0);
  HAL_NVIC_EnableIRQ(DMA1_Channel1_IRQn);
  /* DMA1_Channel2_IRQn interrupt configuration */
  HAL_NVIC_SetPriority(DMA1_Channel2_IRQn, 0, 0);
  HAL_NVIC_EnableIRQ(DMA1_Channel2_IRQn);
  /* DMA1_Channel3_IRQn interrupt configuration */
  HAL_NVIC_SetPriority(DMA1_Channel3_IRQn, 0, 0);
  HAL_NVIC_EnableIRQ(DMA1_Channel3_IRQn);
  /* DMA2_Channel1_IRQn interrupt configuration */
  HAL_NVIC_SetPriority(DMA2_Channel1_IRQn, 0, 0);
  HAL_NVIC_EnableIRQ(DMA2_Channel1_IRQn);
  /* DMA2_Channel5_IRQn interrupt configuration */
  HAL_NVIC_SetPriority(DMA2_Channel5_IRQn, 0, 0);
  HAL_NVIC_EnableIRQ(DMA2_Channel5_IRQn);

}

static void MX_GPIO_Init(void)
{
  GPIO_InitTypeDef GPIO_InitStruct = {0};

  /* GPIO Ports Clock Enable */
  __HAL_RCC_GPIOC_CLK_ENABLE();
  __HAL_RCC_GPIOF_CLK_ENABLE();
  __HAL_RCC_GPIOA_CLK_ENABLE();
  __HAL_RCC_GPIOB_CLK_ENABLE();
  __HAL_RCC_GPIOE_CLK_ENABLE();
  __HAL_RCC_GPIOD_CLK_ENABLE();
  __HAL_RCC_GPIOG_CLK_ENABLE();

  /*Configure GPIO pin Output Level */
  HAL_GPIO_WritePin(MUX_A0_GPIO_Port, MUX_A0_Pin, GPIO_PIN_RESET);

  /*Configure GPIO pin Output Level */
  HAL_GPIO_WritePin(GPIOB, MUX_A1_Pin|MUX_A4_Pin|MUX_A3_Pin|LD3_Pin
                          |LD2_Pin, GPIO_PIN_RESET);

  /*Configure GPIO pin Output Level */
  HAL_GPIO_WritePin(GPIOE, MUX_CS4_Pin|MUX_CS3_Pin|MUX_CS2_Pin|MUX_CS1_Pin, GPIO_PIN_SET);

  /*Configure GPIO pin Output Level */
  HAL_GPIO_WritePin(USB_PowerSwitchOn_GPIO_Port, USB_PowerSwitchOn_Pin, GPIO_PIN_RESET);

  /*Configure GPIO pin Output Level */
  HAL_GPIO_WritePin(MUX_A2_GPIO_Port, MUX_A2_Pin, GPIO_PIN_RESET);

  /*Configure GPIO pin : USER_Btn_Pin */
  GPIO_InitStruct.Pin = USER_Btn_Pin;
  GPIO_InitStruct.Mode = GPIO_MODE_IT_RISING;
  GPIO_InitStruct.Pull = GPIO_NOPULL;
  HAL_GPIO_Init(USER_Btn_GPIO_Port, &GPIO_InitStruct);

  /*Configure GPIO pin : MUX_A0_Pin */
  GPIO_InitStruct.Pin = MUX_A0_Pin;
  GPIO_InitStruct.Mode = GPIO_MODE_OUTPUT_PP;
  GPIO_InitStruct.Pull = GPIO_NOPULL;
  GPIO_InitStruct.Speed = GPIO_SPEED_FREQ_LOW;
  HAL_GPIO_Init(MUX_A0_GPIO_Port, &GPIO_InitStruct);

  /*Configure GPIO pins : MUX_A1_Pin MUX_A4_Pin MUX_A3_Pin LD3_Pin
                           LD2_Pin */
  GPIO_InitStruct.Pin = MUX_A1_Pin|MUX_A4_Pin|MUX_A3_Pin|LD3_Pin
                          |LD2_Pin;
  GPIO_InitStruct.Mode = GPIO_MODE_OUTPUT_PP;
  GPIO_InitStruct.Pull = GPIO_NOPULL;
  GPIO_InitStruct.Speed = GPIO_SPEED_FREQ_LOW;
  HAL_GPIO_Init(GPIOB, &GPIO_InitStruct);

  /*Configure GPIO pins : MUX_CS4_Pin MUX_CS3_Pin MUX_CS2_Pin MUX_CS1_Pin
                           MUX_A2_Pin */
  GPIO_InitStruct.Pin = MUX_CS4_Pin|MUX_CS3_Pin|MUX_CS2_Pin|MUX_CS1_Pin
                          |MUX_A2_Pin;
  GPIO_InitStruct.Mode = GPIO_MODE_OUTPUT_PP;
  GPIO_InitStruct.Pull = GPIO_NOPULL;
  GPIO_InitStruct.Speed = GPIO_SPEED_FREQ_LOW;
  HAL_GPIO_Init(GPIOE, &GPIO_InitStruct);

  /*Configure GPIO pin : USB_PowerSwitchOn_Pin */
  GPIO_InitStruct.Pin = USB_PowerSwitchOn_Pin;
  GPIO_InitStruct.Mode = GPIO_MODE_OUTPUT_PP;
  GPIO_InitStruct.Pull = GPIO_NOPULL;
  GPIO_InitStruct.Speed = GPIO_SPEED_FREQ_LOW;
  HAL_GPIO_Init(USB_PowerSwitchOn_GPIO_Port, &GPIO_InitStruct);

  /*Configure GPIO pin : USB_OverCurrent_Pin */
  GPIO_InitStruct.Pin = USB_OverCurrent_Pin;
  GPIO_InitStruct.Mode = GPIO_MODE_INPUT;
  GPIO_InitStruct.Pull = GPIO_NOPULL;
  HAL_GPIO_Init(USB_OverCurrent_GPIO_Port, &GPIO_InitStruct);

}

/* USER CODE BEGIN 4 */

/* Inline Functions BEGIN-----------------------------------------------------------------*/
/**
  * @brief Wait for Serial Command from the Interface
  * @retval Next Action: go_g, go_ch, go_meas, repeat, fail
  */
void inline __attribute__((always_inline)) delay(uint32_t n_clocks)
{
    while(n_clocks--) __asm__ volatile("");
}

/* Inline Functions END-----------------------------------------------------------------*/

/* State Functions BEGIN-----------------------------------------------------------------*/
/**
  * @brief Wait for Serial Command from the Interface
  * @retval Next Action: go_g, go_ch, go_meas, repeat, fail
  */
Actions_TypeDef comm_wait_state(void){

	HAL_StatusTypeDef uart_state = HAL_OK;

	if (uart_cplt_lck == HAL_UNLOCKED){	//DMA complete transfer

		uart_cplt_lck = HAL_LOCKED;

		switch (comm[0]){
			case 'G': return go_g;
			case 'S': return go_ch;
			case 'M': return go_meas;
			case 'F': return go_FFT;
			case 'E': return go_ex;
			case 'P': return go_ip;
			case 'N': return go_in;
			default: return repeat;
		}
	}

	else {

		uart_state = HAL_UART_Receive_DMA(&huart3, comm, COMM_BUFF_SIZE); //Start receiving

		if((uart_state == HAL_ERROR)){		//If UART ERROR
				Error_Handler();
		}

		return repeat;
	}
}

/**
  * @brief Change Gain of the PGA
  * @retval Next Action: OK, repeat, fail
  */
Actions_TypeDef g_sel_state(void){

	dac_DB = __DAC1_VOLTAGE2BIT(comm[1]);
	dac_LIN = __DAC2_VOLTAGE2BIT(comm[2]);

	//Set DAC to the desired GAIN value
	if((HAL_DAC_SetValue(&hdac1, DAC_CHANNEL_1, DAC_ALIGN_12B_R, dac_DB) != HAL_OK) ||
		  (HAL_DAC_Start(&hdac1, DAC_CHANNEL_1) != HAL_OK) != HAL_OK)
		Error_Handler();

	//Set DAC to the desired GAIN value
	if((HAL_DAC_SetValue(&hdac1, DAC_CHANNEL_2, DAC_ALIGN_12B_R, dac_LIN) != HAL_OK) ||
		  (HAL_DAC_Start(&hdac1, DAC_CHANNEL_2) != HAL_OK) != HAL_OK)
		Error_Handler();

	return ok;

}

/**
  * @brief Change Measurement Channel
  * @retval Next Action: OK, repeat, fail
  */
Actions_TypeDef ch_sel_state(void){

	//Channel selection initialization

	channels_value[3] = comm[1];
	channels_value[2] = comm[2];
	channels_value[1] = comm[3];
	channels_value[0] = comm[4];

	//Check if channel is valid
	if ((channels_value[0] >= N_CHANNELS) && (channels_value[1] >= N_CHANNELS) && (channels_value[2] >= N_CHANNELS)
			&&(channels_value[3] >= N_CHANNELS)){
		return fail;
	}

	//Set pins for channel selection

	for(uint8_t i = 0; i < 4; i++)
	{
		for(uint8_t j = 0; j < 5; j++)
		{
			GPIO_PinState pin_value;

			//Extract MUX Input Configuration from UART value
			pin_value = (channels_value[i] & (1 << j)) ? GPIO_PIN_SET : GPIO_PIN_RESET;

			//Set MUX selection input
			HAL_GPIO_WritePin(mux_ports[j], mux_pins[j], pin_value);

		}

		//Write channel configuration to MUX i using chip select pins
		HAL_GPIO_WritePin(cs_ports[i], cs_pins[i], GPIO_PIN_RESET);

		//Latch MUX i
		HAL_GPIO_WritePin(cs_ports[i], cs_pins[i], GPIO_PIN_SET);
	}
	//delay(500); //wait for channel selection stabilization

	return ok;
}

/**
  * @brief Starts/Stops Excitation Signal (Square Wave, 10 kHz)
  * @retval Next Action: OK, repeat, fail
  */
Actions_TypeDef exc_state(void){
	f_target= comm[1];

	switch(f_target){

		case 1: // 10kHz
			__HAL_TIM_SET_PRESCALER(&htim8, 99);
			HAL_TIM_PWM_Start(&htim8,TIM_CHANNEL_2); //Starts PWM for Current Source (10 kHz)
			break;

		case 2: // 100kHz
			__HAL_TIM_SET_PRESCALER(&htim8, 9);
			HAL_TIM_PWM_Start(&htim8,TIM_CHANNEL_2); //Starts PWM for Current Source (100 kHz)
			break;

		default: //TURN-OFF
			HAL_TIM_PWM_Stop(&htim8, TIM_CHANNEL_2); //Stops PWM for Current Source
	}

	return ok;
}

/**
  * @brief Starts and Manages One Voltage Measurement Run
  * @retval Next Action: OK, repeat, fail
  */
Actions_TypeDef meas_state(void){

	return take_measurement(&hadc3);
}

/**
  * @brief Starts and Manages One Current Measurement Leaving Terminal P of the Howland Source
  * @retval Next Action - OK, repeat, fail
  */
Actions_TypeDef current_p_state(void){

	return take_measurement(&hadc1);
}

/**
  * @brief Starts and Manages One Current Measurement Leaving Terminal N of the Howland Source
  * @retval Next Action - OK, repeat, fail
  */
Actions_TypeDef current_n_state(void){

	return take_measurement(&hadc2);
}

/**
  * @brief Measures the magnitude and phase of the trans-impedance at the current frequency
  * @retval Next Action - OK, repeat, fail
  */

Actions_TypeDef calc_FFT_state(void){

	//if (ch_sel_state() != ok){ //Change channel
		//return fail;
	//}

	fft_lck = HAL_LOCKED; //don't send data via uart after ADC completing

	if (take_measurement(&hadc3) != ok){ //Take measurement from ADC
		return repeat;
	}

	// Prepare input: fill with ADC data, zero-padding if necessary
	for (int i = 0; i < FFT_SIZE; i++) {
		if (i < ADC_BUFF_SIZE) {
			fft_input[i] = (float32_t)(adc_buffer[i] - 2048) * (1.0f / 2048.0f) ;  // Scale to [-1, 1]
			fft_input[i] *= hann_multiplier[i]; //windowing
		} else {
			fft_input[i] = 0.0f;  // Zero-padding
		}
	}

		// Initialize FFT
		arm_rfft_fast_init_f32(&fft_instance, FFT_SIZE);
		// Perform FFT
		arm_rfft_fast_f32(&fft_instance, fft_input, fft_output, 0);

		// Calculate magnitudes
		for (int i = 0; i < FFT_SIZE / 2; i++) {
			float32_t real = fft_output[2 * i];      // Real part
			float32_t imag = fft_output[2 * i + 1]; // Imaginary part
			magnitudes[i] = sqrtf(real * real + imag * imag);
		}

	switch (f_target) {
		case 1:
			mag_value = magnitudes[10];  // Bin 5 corresponds to 10kHz
			break;
		case 2:
			mag_value = magnitudes[102]; // Bin 51 corresponds to 100kHz
			break;
		default:
			mag_value = magnitudes[10];
			break;
	}

	HAL_UART_Transmit_DMA(&huart3, (uint8_t*) &mag_value, 4);

	fft_lck = HAL_UNLOCKED;
    return ok;
}

/**
  * @brief Handles and Informs Errors
  * @retval Next Action - OK, repeat
  */
Actions_TypeDef error_state(void){
	Error_Handler();
	return ok;
}

/* State Functions END-----------------------------------------------------------------*/

/* Auxiliary Functions BEGIN-----------------------------------------------------------------*/

/**
  * @brief Take measure of 1000 points for a certain ADC and store it in adc_buffer
  * @retval Next Action - OK, repeat, fail
  */
Actions_TypeDef take_measurement(ADC_HandleTypeDef* hadc){

	//ADC Start (TRANSFER TO volt_vector USING DMA)
	if(HAL_ADC_Start_DMA(hadc, (uint32_t*) adc_buffer, ADC_BUFF_SIZE) == HAL_OK)
		__HAL_TIM_SET_COUNTER(&htim4, 0);
		HAL_TIM_Base_Start(&htim4);					//If not busy, starts the timer

	if (__HAL_TIM_GET_COUNTER(&htim4) >= CHANNEL_STABILIZATION_TIME){ //Wait switching stabilization time

		//Start TIM3 to trigger the ADC
		if(HAL_TIM_Base_Start(&htim3) != HAL_OK)
		  Error_Handler();

		HAL_TIM_Base_Stop(&htim4); //stops counter
		return ok;
	}
	else
		return repeat;
}

/* Auxiliary Functions END-----------------------------------------------------------------*/

/* Callback Functions BEGIN-----------------------------------------------------------------*/

//Stops TIM3 once the DMA transfer is completed (this is called by the ADC DMA IRQ Handler)
void HAL_ADC_ConvCpltCallback(ADC_HandleTypeDef* hadc){

	//Stops ADC Measurement and Timer
	if(HAL_TIM_Base_Stop(&htim3) != HAL_OK)
		Error_Handler();

	if(HAL_ADC_Stop_DMA(hadc) != HAL_OK)
		Error_Handler();

	//uart_cplt_lck = HAL_LOCKED;
	if(fft_lck != HAL_LOCKED)
		HAL_UART_Transmit_DMA(&huart3, (uint8_t*) adc_buffer, (ADC_BUFF_SIZE));

}

//UART Receive callback (called by the UART DMA IRQ Handler)
void HAL_UART_RxCpltCallback(UART_HandleTypeDef *huart){
	uart_cplt_lck = HAL_UNLOCKED;
}

//UART Transmit callback (called by the UART DMA IRQ Handler)
void HAL_UART_TxCpltCallback(UART_HandleTypeDef *huart){
	//uart_cplt_lck = HAL_UNLOCKED;
}

/* Callback Functions END-----------------------------------------------------------------*/

/* USER CODE END 4 */

void Error_Handler(void)
{
  __disable_irq();
  while (1)
  {
  }
}
